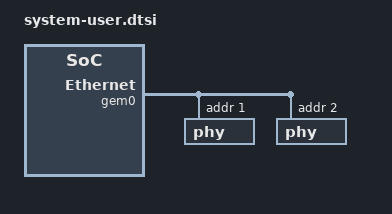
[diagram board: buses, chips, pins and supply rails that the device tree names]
/include/ "system-conf.dtsi"
/ {
	chosen {
		stdout-path = "serial0:115200";
	};
};
&gem0 {
     phy@1 {
            reg = <0x1>;
            ti,rx-internal-delay = <0xb>;
            ti,tx-internal-delay = <0xa>;
            ti,fifo-depth = <0x1>;
            ti,dp83867-rxctrl-strap-quirk;
            phandle = <0x9>;
         };

         phy@2 {
            reg = <0x2>;
            ti,rx-internal-delay = <0xb>;
            ti,tx-internal-delay = <0xa>;
            ti,fifo-depth = <0x1>;
            ti,dp83867-rxctrl-strap-quirk;
            phandle = <0xa>;
         };
};
